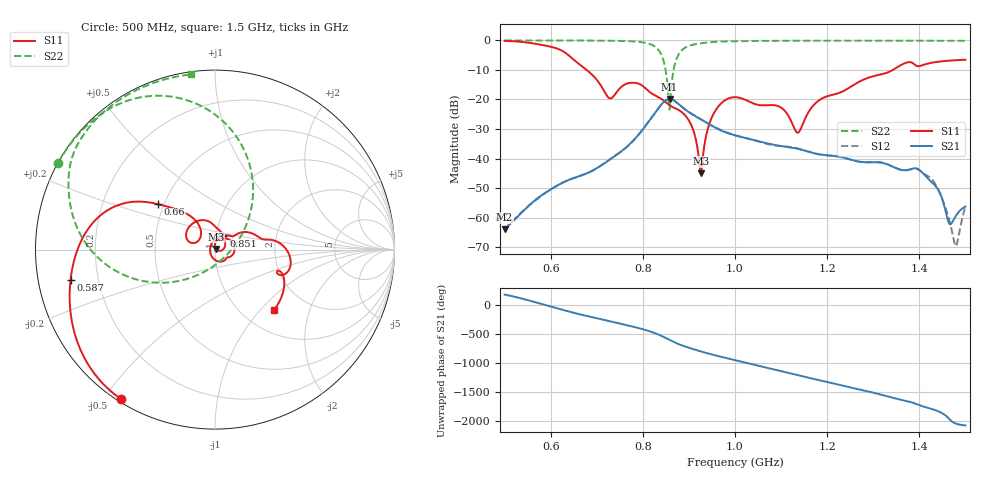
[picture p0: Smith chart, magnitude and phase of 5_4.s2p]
! TOUCHSTONE file generated by CST MICROWAVE STUDIO
! Date and time: Wed Oct 28 19:14:07 2020
! Project name: Scenario_1_Circular_Tissue_out_of_Line.cst
! Parameters = {dy1=-276.636; L_HA=400; MT=2.54; Rad_Dielectric=30; Rad_Lower=7.3; Rad_Upper=30; a_HA=580; a_WG=246; b_HA=500; b_WG=121; c_HA=0; c_WG=187; d_feed=85; dx1=693; h_feed=15; h_lower=18; h_upper=40}
! Header version: 2018
! Port assignment regex: !\s*Touchstone port\s*([0-9]+)\s*=\s*(CST MWS port|CST DS port)\s*([0-9]+|Zmin|Zmax)\s*\(\"(.*)\"\)(\s*mode\s*([0-9]+))?.*
! Touchstone port assignment:
! Touchstone port 1 = CST MWS port 1 ("")
! Touchstone port 2 = CST MWS port 2 ("")
# GHz S DB R 50
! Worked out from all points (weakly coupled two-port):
!   1001 points, 500 MHz to 1.5 GHz, reference 50 ohm
!   highest |S21| = -19.84 dB at 858 MHz (marker M1); lowest = -63.9 dB at 500 MHz (marker M2)
!   lowest |S11| = -44.9 dB at 926 MHz (marker M3), VSWR 1.01, Z = 50.4 + j0.369 ohm
!   |S11| at or under -10 dB: 678 MHz to 1.342 GHz (664.3 MHz wide, 65.8 % of centre)
!   |S22| runs from -23.4 to 0.0 dB; largest |S21 - S12| = 0.00099
!   S11 on the Smith chart (normalised r, x): 500 MHz: 0.01, -0.55; 587 MHz: 0.10, -0.10; 660 MHz: 0.46, +0.28; 851 MHz: 1.08, +0.16; 1.5 GHz: 1.37, -1.19
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0.5  -0.15 -122.3  -63.92 176.1  -63.93 175.5  -0.01 151.1
0.587  -1.70 -168.1  -51.76 -2.2  -51.82 -2.5  -0.02 145.1
0.66  -7.82 141.5  -46.06 -158.1  -46.11 -156.6  -0.04 139.0
0.667  -8.67 138.8  -45.68 -171.6  -45.73 -169.7  -0.04 138.3
0.728  -19.62 143.6  -40.41 77.9  -40.29 79.9  -0.10 131.1
0.777  -14.33 136.7  -34.28 -13.6  -34.33 -13.5  -0.31 121.2
0.834  -19.23 76.2  -22.91 -153.5  -22.91 -153.5  -3.25 83.7
0.851  -21.08 58.2  -20.18 143.3  -20.18 143.3  -11.62 43.6
0.858  -21.96 52.1  -19.84 114.4  -19.85 114.4  -23.45 -52.3
0.879  -23.68 30.4  -21.74 37.3  -21.75 37.2  -4.40 -171.3
0.907  -29.38 -10.1  -24.99 -37.9  -25.00 -37.8  -1.52 163.4
0.926  -44.95 40.3  -26.74 -83.3  -26.75 -83.3  -0.95 155.7
0.953  -25.01 72.9  -29.19 -142.5  -29.12 -142.0  -0.53 148.4
1  -19.22 3.2  -32.13 126.3  -32.14 126.4  -0.27 140.2
1.098  -22.57 -64.5  -35.72 -58.8  -35.76 -58.9  -0.13 129.9
1.136  -31.26 177.3  -36.70 -133.2  -36.59 -133.4  -0.11 126.7
1.167  -22.58 73.9  -38.03 168.9  -38.03 168.9  -0.09 124.2
1.334  -10.67 11.1  -42.18 -144.4  -42.15 -144.5  -0.09 111.5
1.428  -7.52 -23.7  -48.18 3.5  -47.14 -7.0  -0.10 104.0
1.465  -6.84 -35.6  -62.07 -165.9  -60.82 -103.8  -0.12 100.9
1.478  -6.70 -39.6  -59.76 117.7  -69.51 -174.6  -0.12 99.8
1.5  -6.55 -45.9  -56.28 82.0  -56.20 82.6  -0.13 97.9
